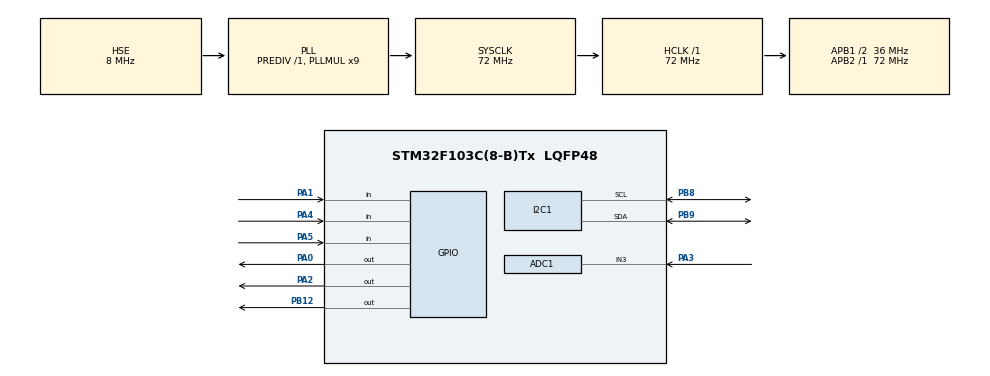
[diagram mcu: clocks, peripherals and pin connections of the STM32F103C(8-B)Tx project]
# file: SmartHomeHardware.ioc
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ADC1.Channel-2\#ChannelRegularConversion=ADC_CHANNEL_3
ADC1.NbrOfConversionFlag=1
ADC1.Rank-2\#ChannelRegularConversion=1
ADC1.SamplingTime-2\#ChannelRegularConversion=ADC_SAMPLETIME_1CYCLE_5
ADC1.master=1
Mcu.Family=STM32F1
Mcu.Name=STM32F103C(8-B)Tx
Mcu.Package=LQFP48
NVIC.PriorityGroup=NVIC_PRIORITYGROUP_4
PA0-WKUP.Signal=GPIO_Output
PA1.Signal=GPIO_Input
PA13.Mode=Serial_Wire
PA13.Signal=SYS_JTMS-SWDIO
PA14.Mode=Serial_Wire
PA14.Signal=SYS_JTCK-SWCLK
PA2.Signal=GPIO_Output
PA3.Signal=ADCx_IN3
PA4.Signal=GPIO_Input
PA5.Signal=GPIO_Input
PB12.Signal=GPIO_Output
PB8.Mode=I2C
PB8.Signal=I2C1_SCL
PB9.Mode=I2C
PB9.Signal=I2C1_SDA
PD0-OSC_IN.Mode=HSE-External-Oscillator
PD0-OSC_IN.Signal=RCC_OSC_IN
PD1-OSC_OUT.Mode=HSE-External-Oscillator
PD1-OSC_OUT.Signal=RCC_OSC_OUT
ProjectManager.HeapSize=0x200
ProjectManager.StackSize=0x400
ProjectManager.TargetToolchain=MDK-ARM V5.32
RCC.ADCPresc=RCC_ADCPCLK2_DIV6
RCC.AHBFreq_Value=72000000
RCC.APB1CLKDivider=RCC_HCLK_DIV2
RCC.APB1Freq_Value=36000000
RCC.APB1TimFreq_Value=72000000
RCC.APB2Freq_Value=72000000
RCC.APB2TimFreq_Value=72000000
RCC.HCLKFreq_Value=72000000
RCC.PLLMUL=RCC_PLL_MUL9
RCC.PLLSourceVirtual=RCC_PLLSOURCE_HSE
RCC.SYSCLKFreq_VALUE=72000000
RCC.SYSCLKSource=RCC_SYSCLKSOURCE_PLLCLK
RCC.USBFreq_Value=72000000
SH.ADCx_IN3.0=ADC1_IN3,IN3
TIM2.Prescaler=72-1
VP_TIM2_VS_ClockSourceINT.Mode=Internal
board=custom

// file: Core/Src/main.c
/* USER CODE BEGIN Header */
/**
  ******************************************************************************
  * @file           : main.c
  * @brief          : Main program body
  ******************************************************************************
  * @attention
  *
  * Copyright (c) 2024 STMicroelectronics.
  * All rights reserved.
  *
  * This software is licensed under terms that can be found in the LICENSE file
  * in the root directory of this software component.
  * If no LICENSE file comes with this software, it is provided AS-IS.
  *
  ******************************************************************************
  */
/* USER CODE END Header */
#include "main.h"
#include "adc.h"
#include "i2c.h"
#include "tim.h"
#include "gpio.h"

/* USER CODE BEGIN Includes */
#include "dth11.h"
#include "OLED.h"
#include "hc_sr501.h"
#include "buzzer.h"
#include "light_sensitive.h"
#include "touch.h"
/* USER CODE END Includes */

/* USER CODE BEGIN PV */

/*
    A0为DTH11温湿度模�????????
    A1为hc-sr501红外线探测模�????????
    A2为buzzer
    A3为光敏传感器A0
    A4为光敏传感器D0
    A5为单路触摸模块
*/

float temperature,humidity;//储存dth11的温度和湿度
uint8_t Infrared_test_results;//hc-sr501红外线探测模�????????
uint16_t lightvalue;//储存光敏传感�??????
/* USER CODE END PV */

void SystemClock_Config(void);

int main(void)
{

  /* MCU Configuration--------------------------------------------------------*/

  /* Reset of all peripherals, Initializes the Flash interface and the Systick. */
  HAL_Init();

  /* Configure the system clock */
  SystemClock_Config();

  /* Initialize all configured peripherals */
  MX_GPIO_Init();
  MX_I2C1_Init();
  MX_TIM2_Init();
  MX_ADC1_Init();
  /* USER CODE BEGIN 2 */

 // Buzzer_Init();

  OLED_Init();
  OLED_ON();
  OLED_Clear();
  /* USER CODE END 2 */

  /* Infinite loop */
  /* USER CODE BEGIN WHILE */
  while (1)
  {
    HAL_Delay(1000);
    Display_Int(0,0,LightSensor_ReadAnalog());
    if(Touch_Read())
      HAL_GPIO_WritePin(GPIOB,GPIO_PIN_12,GPIO_PIN_SET);
    else
      HAL_GPIO_WritePin(GPIOB,GPIO_PIN_12,GPIO_PIN_RESET);
    /* USER CODE END WHILE */

  }
}

void SystemClock_Config(void)
{
  RCC_OscInitTypeDef RCC_OscInitStruct = {0};
  RCC_ClkInitTypeDef RCC_ClkInitStruct = {0};
  RCC_PeriphCLKInitTypeDef PeriphClkInit = {0};

  /** Initializes the RCC Oscillators according to the specified parameters
  * in the RCC_OscInitTypeDef structure.
  */
  RCC_OscInitStruct.OscillatorType = RCC_OSCILLATORTYPE_HSE;
  RCC_OscInitStruct.HSEState = RCC_HSE_ON;
  RCC_OscInitStruct.HSEPredivValue = RCC_HSE_PREDIV_DIV1;
  RCC_OscInitStruct.HSIState = RCC_HSI_ON;
  RCC_OscInitStruct.PLL.PLLState = RCC_PLL_ON;
  RCC_OscInitStruct.PLL.PLLSource = RCC_PLLSOURCE_HSE;
  RCC_OscInitStruct.PLL.PLLMUL = RCC_PLL_MUL9;
  if (HAL_RCC_OscConfig(&RCC_OscInitStruct) != HAL_OK)
  {
    Error_Handler();
  }

  /** Initializes the CPU, AHB and APB buses clocks
  */
  RCC_ClkInitStruct.ClockType = RCC_CLOCKTYPE_HCLK|RCC_CLOCKTYPE_SYSCLK
                              |RCC_CLOCKTYPE_PCLK1|RCC_CLOCKTYPE_PCLK2;
  RCC_ClkInitStruct.SYSCLKSource = RCC_SYSCLKSOURCE_PLLCLK;
  RCC_ClkInitStruct.AHBCLKDivider = RCC_SYSCLK_DIV1;
  RCC_ClkInitStruct.APB1CLKDivider = RCC_HCLK_DIV2;
  RCC_ClkInitStruct.APB2CLKDivider = RCC_HCLK_DIV1;

  if (HAL_RCC_ClockConfig(&RCC_ClkInitStruct, FLASH_LATENCY_2) != HAL_OK)
  {
    Error_Handler();
  }
  PeriphClkInit.PeriphClockSelection = RCC_PERIPHCLK_ADC;
  PeriphClkInit.AdcClockSelection = RCC_ADCPCLK2_DIV6;
  if (HAL_RCCEx_PeriphCLKConfig(&PeriphClkInit) != HAL_OK)
  {
    Error_Handler();
  }
}

void Error_Handler(void)
{
  __disable_irq();
  while (1)
  {
  }
}
